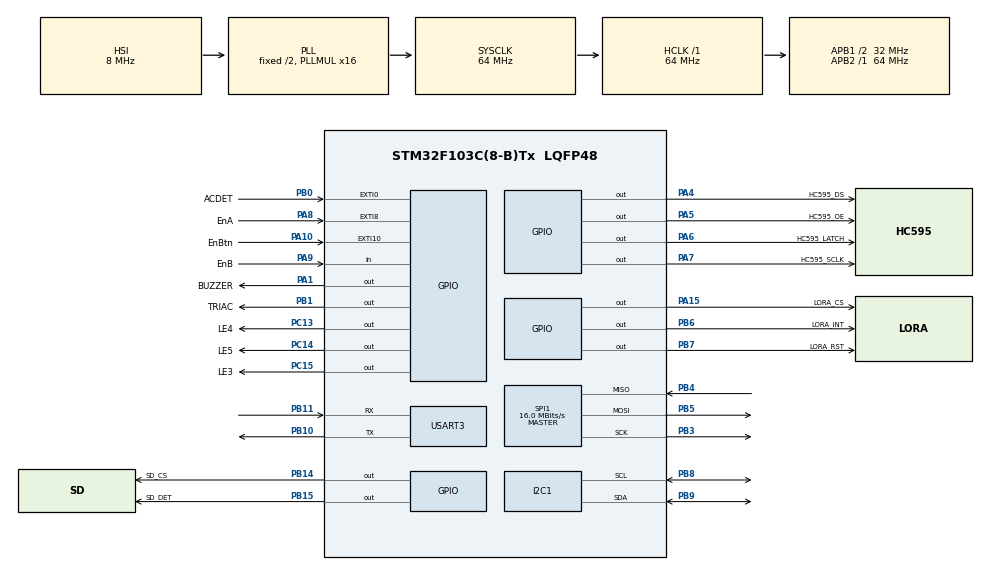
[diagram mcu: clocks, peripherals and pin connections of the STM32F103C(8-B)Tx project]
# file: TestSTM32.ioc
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Mcu.Family=STM32F1
Mcu.Name=STM32F103C(8-B)Tx
Mcu.Package=LQFP48
NVIC.EXTI0_IRQn=true\:0\:0\:false\:false\:true\:true\:true\:true
NVIC.EXTI15_10_IRQn=true\:0\:0\:true\:false\:true\:true\:true\:true
NVIC.EXTI9_5_IRQn=true\:0\:0\:true\:false\:true\:true\:true\:true
NVIC.I2C1_ER_IRQn=true\:0\:0\:false\:false\:true\:true\:true\:true
NVIC.I2C1_EV_IRQn=true\:0\:0\:false\:false\:true\:true\:true\:true
NVIC.PriorityGroup=NVIC_PRIORITYGROUP_4
NVIC.SPI1_IRQn=true\:0\:0\:false\:false\:true\:true\:true\:true
NVIC.TIM2_IRQn=true\:0\:0\:false\:false\:true\:true\:true\:true
NVIC.TIM3_IRQn=true\:1\:0\:true\:false\:true\:true\:true\:true
NVIC.USART3_IRQn=true\:0\:0\:false\:false\:true\:true\:true\:true
PA1.GPIO_Label=BUZZER
PA1.Signal=GPIO_Output
PA10.GPIO_Label=EnBtn
PA10.GPIO_ModeDefaultEXTI=GPIO_MODE_IT_FALLING
PA10.GPIO_PuPd=GPIO_PULLUP
PA10.Signal=GPXTI10
PA13.Mode=Serial_Wire
PA13.Signal=SYS_JTMS-SWDIO
PA14.Mode=Serial_Wire
PA14.Signal=SYS_JTCK-SWCLK
PA15.GPIO_Label=LORA_CS
PA15.GPIO_ModeDefaultOutputPP=GPIO_MODE_OUTPUT_PP
PA15.GPIO_PuPd=GPIO_PULLUP
PA15.Signal=GPIO_Output
PA4.GPIO_Label=HC595_DS
PA4.Signal=GPIO_Output
PA5.GPIO_Label=HC595_OE
PA5.Signal=GPIO_Output
PA6.GPIO_Label=HC595_LATCH
PA6.Signal=GPIO_Output
PA7.GPIO_Label=HC595_SCLK
PA7.Signal=GPIO_Output
PA8.GPIO_Label=EnA
PA8.Signal=GPXTI8
PA9.GPIO_Label=EnB
PA9.Signal=GPIO_Input
PB0.GPIO_Label=ACDET
PB0.GPIO_PuPd=GPIO_PULLUP
PB0.Signal=GPXTI0
PB1.GPIO_Label=TRIAC
PB1.Signal=GPIO_Output
PB10.Mode=Asynchronous
PB10.Signal=USART3_TX
PB11.Mode=Asynchronous
PB11.Signal=USART3_RX
PB14.GPIO_Label=SD_CS
PB14.GPIO_PuPd=GPIO_PULLUP
PB14.Signal=GPIO_Output
PB15.GPIO_Label=SD_DET
PB15.GPIO_PuPd=GPIO_PULLUP
PB15.Signal=GPIO_Output
PB3.Mode=Full_Duplex_Master
PB3.Signal=SPI1_SCK
PB4.Mode=Full_Duplex_Master
PB4.Signal=SPI1_MISO
PB5.Mode=Full_Duplex_Master
PB5.Signal=SPI1_MOSI
PB6.GPIO_Label=LORA_INT
PB6.GPIO_PuPd=GPIO_PULLUP
PB6.Signal=GPIO_Output
PB7.GPIO_Label=LORA_RST
PB7.GPIO_PuPd=GPIO_PULLUP
PB7.Signal=GPIO_Output
PB8.Mode=I2C
PB8.Signal=I2C1_SCL
PB9.Mode=I2C
PB9.Signal=I2C1_SDA
PC13-TAMPER-RTC.GPIO_Label=LE4
PC13-TAMPER-RTC.Signal=GPIO_Output
PC14-OSC32_IN.GPIO_Label=LE5
PC14-OSC32_IN.Signal=GPIO_Output
PC15-OSC32_OUT.GPIO_Label=LE3
PC15-OSC32_OUT.Signal=GPIO_Output
ProjectManager.HeapSize=0x200
ProjectManager.StackSize=0x400
ProjectManager.TargetToolchain=STM32CubeIDE
RCC.AHBFreq_Value=64000000
RCC.APB1CLKDivider=RCC_HCLK_DIV2
RCC.APB1Freq_Value=32000000
RCC.APB1TimFreq_Value=64000000
RCC.APB2Freq_Value=64000000
RCC.APB2TimFreq_Value=64000000
RCC.HCLKFreq_Value=64000000
RCC.HSE_VALUE=25000000
RCC.PLLMUL=RCC_PLL_MUL16
RCC.SYSCLKFreq_VALUE=64000000
RCC.SYSCLKSource=RCC_SYSCLKSOURCE_PLLCLK
RCC.USBFreq_Value=64000000
SPI1.BaudRatePrescaler=SPI_BAUDRATEPRESCALER_4
SPI1.CalculateBaudRate=16.0 MBits/s
SPI1.Direction=SPI_DIRECTION_2LINES
SPI1.FirstBit=SPI_FIRSTBIT_LSB
SPI1.Mode=SPI_MODE_MASTER
SPI1.VirtualType=VM_MASTER
TIM2.Period=10-1
TIM2.Prescaler=64-1
TIM3.Period=1000-1
TIM3.Prescaler=64-1
USART3.VirtualMode=VM_ASYNC
VP_TIM2_VS_ClockSourceINT.Mode=Internal
VP_TIM3_VS_ClockSourceINT.Mode=Internal
board=custom

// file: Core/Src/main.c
/* USER CODE BEGIN Header */
/**
 ******************************************************************************
 * @file           : main.c
 * @brief          : Main program body
 ******************************************************************************
 * @attention
 *
 * Copyright (c) 2023 STMicroelectronics.
 * All rights reserved.
 *
 * This software is licensed under terms that can be found in the LICENSE file
 * in the root directory of this software component.
 * If no LICENSE file comes with this software, it is provided AS-IS.
 *
 ******************************************************************************
 */
/* USER CODE END Header */
#include "main.h"

/* USER CODE BEGIN Includes */

#include "Buzzer.h"
#include <string.h>
#include <stdio.h>
#include "7seg.h"

/* USER CODE END Includes */

/* USER CODE BEGIN PTD */

typedef enum _Flag {
	USART3_INT,
	I2C1_INT,
} _Flag;

typedef enum _ecdProcState {
	ECD_WAIT1 = 1,
	ECD_WAIT3,
	ECD_State1,
	ECD_State2,
	ECD_State3,
} _ecdProcState;

typedef enum _btnProcState {
	BTN_WAIT1 = 1,
	BTN_WAIT3,
	BTN_State1,
	BTN_State2,
	BTN_State3,
} _btnProcState;

typedef enum _LedState {
	LED_Start,
	LED_Delay,
} _LedState;

typedef enum _BuzzerState{
	Buzzer_On,
	Buzzer_Off,
}_BuzzerState;

typedef enum _DelayProcess {
	LED_Count_Delay = 1,
	BTN_Count_Delay,
	ECD_Count_Delay,
	BUZZER_Count_Delay,
	LED_Count_Done,
	BTN_Count_Done,
	ECD_Count_Done,
	BUZZER_Count_Done
} _DelayProcess;

typedef struct _DS3231{
	uint8_t sec;
	uint8_t min;
	uint8_t hour;
	uint8_t day;
	uint8_t date;
	uint8_t month;
	uint8_t year;
}_DS3231;

_BuzzerState buzzerState;
_DS3231 ds3231;
_DelayProcess delayProcess;
_LedState ledstate;
_ecdProcState ecdState;
_btnProcState btnState;

/* USER CODE END PTD */

/* USER CODE BEGIN PD */

#define DS3231_ADDRESS (0x68<<1)

/* USER CODE END PD */

I2C_HandleTypeDef hi2c1;

SPI_HandleTypeDef hspi1;

TIM_HandleTypeDef htim2;
TIM_HandleTypeDef htim3;

UART_HandleTypeDef huart3;

/* USER CODE BEGIN PV */
uint32_t flag = 0;

uint32_t delay_counter[2][4] = { 0 };

uint8_t upperdigit = 0;
uint8_t lowerdigit = 0;
int8_t upperNumber[3] = { 0 };
int8_t lowerNumber[4] = { 0 };

uint16_t ecdcount = 0;
uint8_t ecdcheck = 0;

uint8_t push = 0;
uint8_t btncheck = 0;

/* USER CODE END PV */

void SystemClock_Config(void);
static void MX_GPIO_Init(void);
static void MX_TIM2_Init(void);
static void MX_TIM3_Init(void);
static void MX_USART3_UART_Init(void);
static void MX_I2C1_Init(void);
static void MX_SPI1_Init(void);

/* USER CODE BEGIN 0 */

void FlagSet(uint32_t *f, _Flag bitToSet){
	*f |= (1<<bitToSet);
}

void FlagClear(uint32_t *f, _Flag bitToClear){
	*f &= ~(1<<bitToClear);
}

uint8_t FlagCheck(uint32_t f, _Flag bitToCheck){
	if(f&(1<<bitToCheck))
		return 1;
	else
		return 0;
}

uint8_t B2D (uint8_t num){
	return ((num/10 * 16) + (num%10));
}

uint8_t D2B (uint8_t num){
	return ((num/16 * 10) + (num%16));
}

void HAL_GPIO_EXTI_Callback(uint16_t GPIO_Pin) {
	if (GPIO_Pin == EnA_Pin) {
		ecdState = ECD_WAIT1;
		HAL_NVIC_DisableIRQ(EXTI9_5_IRQn);
	}
	if (GPIO_Pin == EnBtn_Pin) {
		btnState = BTN_WAIT1;
		HAL_NVIC_DisableIRQ(EXTI15_10_IRQn);
	}
}

void Delay_Tim(uint32_t delay, _DelayProcess _delayProc) {
	switch (_delayProc) {
	case BUZZER_Count_Delay:
		delay_counter[1][3] = delay;
		if(delay_counter[0][3 < delay])
			delayProcess = BUZZER_Count_Delay;
		break;
	case LED_Count_Delay:
		delay_counter[1][2] = delay;
		if (delay_counter[0][2] < delay)
			delayProcess = LED_Count_Delay;
		break;
	case BTN_Count_Delay:
		delay_counter[1][1] = delay;
		if (delay_counter[0][1] < delay)
			delayProcess = BTN_Count_Delay;
		break;
	case ECD_Count_Delay:
		delay_counter[1][0] = delay;
		if (delay_counter[0][0] < delay)
			delayProcess = ECD_Count_Delay;
		break;
	case LED_Count_Done:
		ledstate = LED_Start;
		break;
	case BTN_Count_Done:
		switch (btnState)
		{
		case BTN_WAIT1:
			btnState = BTN_State1;
			break;
		default:
			btnState = BTN_State3;
			break;
		}
		break;
	case ECD_Count_Done:
		switch (ecdState)
		{
		case ECD_WAIT1:
			ecdState = ECD_State1;
			break;
		default:
			ecdState = ECD_State3;
			break;
		}
		break;
	case BUZZER_Count_Done:
		switch(buzzerState)
		{
		case Buzzer_On:
			buzzerState = Buzzer_Off;
			break;
		default:
			buzzerState = Buzzer_On;
			break;
		}
		break;
	}
}

void HAL_TIM_PeriodElapsedCallback(TIM_HandleTypeDef *htim) {
	if (htim->Instance == TIM2) {
		switch (delayProcess) {
		case BUZZER_Count_Delay:
			if (delay_counter[0][3] < delay_counter[1][3])
				delay_counter[0][3]++;
			else{
				delay_counter[0][3]=0;
				delayProcess = BUZZER_Count_Done;
			}
			delayProcess = 0;
			break;
		case LED_Count_Delay:
			if (delay_counter[0][2] < delay_counter[1][2])
				delay_counter[0][2]++;
			else{
				delay_counter[0][2]=0;
				delayProcess = LED_Count_Done;
			}
			delayProcess = 0;
			break;
		case BTN_Count_Delay:
			if (delay_counter[0][1] < delay_counter[1][1])
				delay_counter[0][1]++;
			else{
				delay_counter[0][1]=0;
				delayProcess = BTN_Count_Done;
			}
			delayProcess = 0;
			break;
		case ECD_Count_Delay:
			if (delay_counter[0][0] < delay_counter[1][0])
				delay_counter[0][0]++;
			else{
				delay_counter[0][0]=0;
				delayProcess = ECD_Count_Done;
			}
			delayProcess = 0;
			break;
		case LED_Count_Done:
			break;
		case BUZZER_Count_Done:
			break;
		case ECD_Count_Done:
			break;
		case BTN_Count_Done:
			break;
		}
	}
	if (htim->Instance == TIM3) {
		upperdigit++;
		lowerdigit++;
		if (upperdigit == 3)
			upperdigit = 0;
		if (lowerdigit == 4)
			lowerdigit = 0;
		switch (upperdigit) {
		case 0:
			SegLed_Show(LE3_BIT, upperNumber[0]);
			break;
		case 1:
			SegLed_Show(LE2_BIT, upperNumber[1]);
			break;
		case 2:
			SegLed_Show(LE1_BIT, upperNumber[2]);
			break;
		}
		switch (lowerdigit) {
			case 0:
				SegLed_Show(LE7_BIT,lowerNumber[0]);
				break;
			case 1:
				SegLed_Show(LE6_BIT,lowerNumber[1]);
				break;
			case 2:
				SegLed_Show(LE5_BIT,lowerNumber[2]);
				break;
			case 3:
				SegLed_Show(LE4_BIT,lowerNumber[3]);
		}
	}
}

void DS3232_GetTime(){
	uint8_t rtcdata[7] = {0};

	HAL_I2C_Master_Transmit(&hi2c1, DS3231_ADDRESS, 0x00, 1, HAL_MAX_DELAY);
	HAL_I2C_Master_Receive(&hi2c1, DS3231_ADDRESS, rtcdata, 7, HAL_MAX_DELAY);

	ds3231.sec   = B2D(rtcdata[0]);
	ds3231.min   = B2D(rtcdata[0]);
	ds3231.hour  = B2D(rtcdata[0]);
	ds3231.day   = B2D(rtcdata[0]);
	ds3231.date  = B2D(rtcdata[0]);
	ds3231.month = B2D(rtcdata[0]);
	ds3231.year  = B2D(rtcdata[0]);
}

void DS3231_SetTime(uint8_t sec, uint8_t min, uint8_t hour, uint8_t day, uint8_t date, uint8_t month, uint8_t year){
	uint8_t rtcdata[8] = {0};
	rtcdata[0] = 0x00;
	rtcdata[1] = D2B(sec);
	rtcdata[2] = D2B(min);
	rtcdata[3] = D2B(hour);
	rtcdata[4] = D2B(day);
	rtcdata[5] = D2B(date);
	rtcdata[6] = D2B(month);
	rtcdata[7] = D2B(year);
	HAL_I2C_Master_Transmit(&hi2c1, DS3231_ADDRESS, rtcdata, 8, HAL_MAX_DELAY);
}

void Read_Encoder() {
	switch (ecdState) {
	case ECD_WAIT1:
		Delay_Tim(2, ECD_Count_Delay);
		break;
	case ECD_WAIT3:
		Delay_Tim(2, ECD_Count_Delay);
		break;
	case ECD_State1:
		if (HAL_GPIO_ReadPin(EnB_GPIO_Port, EnB_Pin))
			ecdcount++;
		else
			ecdcount--;
		ecdState = ECD_State2;
		break;
	case ECD_State2:
		while (!HAL_GPIO_ReadPin(EnA_GPIO_Port, EnA_Pin));
		ecdState = ECD_State3;
		break;
	case ECD_State3:
		if (!HAL_GPIO_ReadPin(EnA_GPIO_Port, EnA_Pin))
			ecdcheck = 0;
		else
			ecdcheck++;
		if (ecdcheck == 3) {
			ecdState = 0;
			HAL_NVIC_EnableIRQ(EXTI9_5_IRQn);
		}else
			ecdState = ECD_WAIT3;
		break;
	}
}

void Read_Button() {
	switch (btnState) {
	case BTN_WAIT1:
		Delay_Tim(2, BTN_Count_Delay);
		break;
	case BTN_WAIT3:
		Delay_Tim(2,BTN_Count_Delay);
		break;
	case BTN_State1:
		push ^= 1;
		btnState = BTN_State2;
		break;
	case BTN_State2:
		while (!HAL_GPIO_ReadPin(EnBtn_GPIO_Port, EnBtn_Pin));
		btnState = BTN_State3;
		break;
	case BTN_State3:
		if (!HAL_GPIO_ReadPin(EnBtn_GPIO_Port, EnBtn_Pin))
			btncheck = 0;
		else
			btncheck++;
		if (btncheck >= 3){
			HAL_NVIC_EnableIRQ(EXTI15_10_IRQn);
			btnState = 0;
		}
		else
			btnState = BTN_WAIT3;
		break;
	}
}

void UpperLed() {
	switch (ledstate) {
	case LED_Start:
		if (!push) {
			upperNumber[0]++;
			for (uint8_t i = 0; i < sizeof(upperNumber) - 1; i++) {
				if (upperNumber[i] == 10) {
					upperNumber[i] = 0;
					upperNumber[i + 1]++;
				}
				if (upperNumber[3] == 10)
					memset(upperNumber, 0, sizeof(upperNumber));
			}
		} else {
			upperNumber[0]--;
			for (uint8_t j = 0; j < sizeof(upperNumber) - 1; j++) {
				if (upperNumber[j] == -1) {
					upperNumber[j] = 9;
					upperNumber[j + 1]--;
				}
				if (upperNumber[3] == -1)
					memset(upperNumber, 9, sizeof(upperNumber));
			}
		}
		ledstate = LED_Delay;
		break;
	case LED_Delay:
		Delay_Tim(10000, LED_Count_Delay);
		break;
	}
}

void LowerLed() {
	lowerNumber[0]++;
	for (uint8_t i = 0; i < sizeof(lowerNumber) - 1; i++) {
		if (lowerNumber[i] == 10) {
			lowerNumber[i] = 0;
			ecdcount = 0;
			lowerNumber[i + 1]++;
		}
		if (lowerNumber[3] == 10)
			memset(lowerNumber, 0, sizeof(lowerNumber));
	}

}

void Buzzer(){
	switch(buzzerState){
	case Buzzer_On:
		HAL_GPIO_WritePin(BUZZER_GPIO_Port, BUZZER_Pin, 1);
		Delay_Tim(10000, BUZZER_Count_Delay);
		break;
	case Buzzer_Off:
		HAL_GPIO_WritePin(BUZZER_GPIO_Port, BUZZER_Pin, 0);
		Delay_Tim(10000, BUZZER_Count_Delay);
		break;
	}
}

/* USER CODE END 0 */

int main(void)
{

  /* MCU Configuration--------------------------------------------------------*/

  /* Reset of all peripherals, Initializes the Flash interface and the Systick. */
  HAL_Init();

  /* Configure the system clock */
  SystemClock_Config();

  /* Initialize all configured peripherals */
  MX_GPIO_Init();
  MX_TIM2_Init();
  MX_TIM3_Init();
  MX_USART3_UART_Init();
  MX_I2C1_Init();
  MX_SPI1_Init();
  /* USER CODE BEGIN 2 */

  HAL_TIM_Base_Start_IT(&htim2);
  HAL_TIM_Base_Start_IT(&htim3);
//  DS3231_SetTime(0, 14, 20, 3, 25, 7, 23);

  /* USER CODE END 2 */

  /* Infinite loop */
  /* USER CODE BEGIN WHILE */
	while (1) {
		Read_Encoder();
		Read_Button();
		UpperLed();
	    LowerLed();
//		Buzzer();
    /* USER CODE END WHILE */

	}
}

void SystemClock_Config(void)
{
  RCC_OscInitTypeDef RCC_OscInitStruct = {0};
  RCC_ClkInitTypeDef RCC_ClkInitStruct = {0};

  /** Initializes the RCC Oscillators according to the specified parameters
  * in the RCC_OscInitTypeDef structure.
  */
  RCC_OscInitStruct.OscillatorType = RCC_OSCILLATORTYPE_HSI;
  RCC_OscInitStruct.HSIState = RCC_HSI_ON;
  RCC_OscInitStruct.HSICalibrationValue = RCC_HSICALIBRATION_DEFAULT;
  RCC_OscInitStruct.PLL.PLLState = RCC_PLL_ON;
  RCC_OscInitStruct.PLL.PLLSource = RCC_PLLSOURCE_HSI_DIV2;
  RCC_OscInitStruct.PLL.PLLMUL = RCC_PLL_MUL16;
  if (HAL_RCC_OscConfig(&RCC_OscInitStruct) != HAL_OK)
  {
    Error_Handler();
  }

  /** Initializes the CPU, AHB and APB buses clocks
  */
  RCC_ClkInitStruct.ClockType = RCC_CLOCKTYPE_HCLK|RCC_CLOCKTYPE_SYSCLK
                              |RCC_CLOCKTYPE_PCLK1|RCC_CLOCKTYPE_PCLK2;
  RCC_ClkInitStruct.SYSCLKSource = RCC_SYSCLKSOURCE_PLLCLK;
  RCC_ClkInitStruct.AHBCLKDivider = RCC_SYSCLK_DIV1;
  RCC_ClkInitStruct.APB1CLKDivider = RCC_HCLK_DIV2;
  RCC_ClkInitStruct.APB2CLKDivider = RCC_HCLK_DIV1;

  if (HAL_RCC_ClockConfig(&RCC_ClkInitStruct, FLASH_LATENCY_2) != HAL_OK)
  {
    Error_Handler();
  }
}

static void MX_I2C1_Init(void)
{

  hi2c1.Instance = I2C1;
  hi2c1.Init.ClockSpeed = 100000;
  hi2c1.Init.DutyCycle = I2C_DUTYCYCLE_2;
  hi2c1.Init.OwnAddress1 = 0;
  hi2c1.Init.AddressingMode = I2C_ADDRESSINGMODE_7BIT;
  hi2c1.Init.DualAddressMode = I2C_DUALADDRESS_DISABLE;
  hi2c1.Init.OwnAddress2 = 0;
  hi2c1.Init.GeneralCallMode = I2C_GENERALCALL_DISABLE;
  hi2c1.Init.NoStretchMode = I2C_NOSTRETCH_DISABLE;
  if (HAL_I2C_Init(&hi2c1) != HAL_OK)
  {
    Error_Handler();
  }

}

static void MX_SPI1_Init(void)
{

  /* SPI1 parameter configuration*/
  hspi1.Instance = SPI1;
  hspi1.Init.Mode = SPI_MODE_MASTER;
  hspi1.Init.Direction = SPI_DIRECTION_2LINES;
  hspi1.Init.DataSize = SPI_DATASIZE_8BIT;
  hspi1.Init.CLKPolarity = SPI_POLARITY_LOW;
  hspi1.Init.CLKPhase = SPI_PHASE_1EDGE;
  hspi1.Init.NSS = SPI_NSS_SOFT;
  hspi1.Init.BaudRatePrescaler = SPI_BAUDRATEPRESCALER_4;
  hspi1.Init.FirstBit = SPI_FIRSTBIT_LSB;
  hspi1.Init.TIMode = SPI_TIMODE_DISABLE;
  hspi1.Init.CRCCalculation = SPI_CRCCALCULATION_DISABLE;
  hspi1.Init.CRCPolynomial = 10;
  if (HAL_SPI_Init(&hspi1) != HAL_OK)
  {
    Error_Handler();
  }

}

static void MX_TIM2_Init(void)
{

  TIM_ClockConfigTypeDef sClockSourceConfig = {0};
  TIM_MasterConfigTypeDef sMasterConfig = {0};

  htim2.Instance = TIM2;
  htim2.Init.Prescaler = 64-1;
  htim2.Init.CounterMode = TIM_COUNTERMODE_UP;
  htim2.Init.Period = 100-1;
  htim2.Init.ClockDivision = TIM_CLOCKDIVISION_DIV1;
  htim2.Init.AutoReloadPreload = TIM_AUTORELOAD_PRELOAD_DISABLE;
  if (HAL_TIM_Base_Init(&htim2) != HAL_OK)
  {
    Error_Handler();
  }
  sClockSourceConfig.ClockSource = TIM_CLOCKSOURCE_INTERNAL;
  if (HAL_TIM_ConfigClockSource(&htim2, &sClockSourceConfig) != HAL_OK)
  {
    Error_Handler();
  }
  sMasterConfig.MasterOutputTrigger = TIM_TRGO_RESET;
  sMasterConfig.MasterSlaveMode = TIM_MASTERSLAVEMODE_DISABLE;
  if (HAL_TIMEx_MasterConfigSynchronization(&htim2, &sMasterConfig) != HAL_OK)
  {
    Error_Handler();
  }

}

static void MX_TIM3_Init(void)
{

  TIM_ClockConfigTypeDef sClockSourceConfig = {0};
  TIM_MasterConfigTypeDef sMasterConfig = {0};

  htim3.Instance = TIM3;
  htim3.Init.Prescaler = 64-1;
  htim3.Init.CounterMode = TIM_COUNTERMODE_UP;
  htim3.Init.Period = 1000-1;
  htim3.Init.ClockDivision = TIM_CLOCKDIVISION_DIV1;
  htim3.Init.AutoReloadPreload = TIM_AUTORELOAD_PRELOAD_DISABLE;
  if (HAL_TIM_Base_Init(&htim3) != HAL_OK)
  {
    Error_Handler();
  }
  sClockSourceConfig.ClockSource = TIM_CLOCKSOURCE_INTERNAL;
  if (HAL_TIM_ConfigClockSource(&htim3, &sClockSourceConfig) != HAL_OK)
  {
    Error_Handler();
  }
  sMasterConfig.MasterOutputTrigger = TIM_TRGO_RESET;
  sMasterConfig.MasterSlaveMode = TIM_MASTERSLAVEMODE_DISABLE;
  if (HAL_TIMEx_MasterConfigSynchronization(&htim3, &sMasterConfig) != HAL_OK)
  {
    Error_Handler();
  }

}

static void MX_USART3_UART_Init(void)
{

  huart3.Instance = USART3;
  huart3.Init.BaudRate = 115200;
  huart3.Init.WordLength = UART_WORDLENGTH_8B;
  huart3.Init.StopBits = UART_STOPBITS_1;
  huart3.Init.Parity = UART_PARITY_NONE;
  huart3.Init.Mode = UART_MODE_TX_RX;
  huart3.Init.HwFlowCtl = UART_HWCONTROL_NONE;
  huart3.Init.OverSampling = UART_OVERSAMPLING_16;
  if (HAL_UART_Init(&huart3) != HAL_OK)
  {
    Error_Handler();
  }

}

static void MX_GPIO_Init(void)
{
  GPIO_InitTypeDef GPIO_InitStruct = {0};

  /* GPIO Ports Clock Enable */
  __HAL_RCC_GPIOC_CLK_ENABLE();
  __HAL_RCC_GPIOA_CLK_ENABLE();
  __HAL_RCC_GPIOB_CLK_ENABLE();

  /*Configure GPIO pin Output Level */
  HAL_GPIO_WritePin(GPIOC, LE4_Pin|LE5_Pin|LE3_Pin, GPIO_PIN_RESET);

  /*Configure GPIO pin Output Level */
  HAL_GPIO_WritePin(GPIOA, BUZZER_Pin|HC595_DS_Pin|HC595_OE_Pin|HC595_LATCH_Pin
                          |HC595_SCLK_Pin|LORA_CS_Pin, GPIO_PIN_RESET);

  /*Configure GPIO pin Output Level */
  HAL_GPIO_WritePin(GPIOB, TRIAC_Pin|SD_CS_Pin|SD_DET_Pin|LORA_INT_Pin
                          |LORA_RST_Pin, GPIO_PIN_RESET);

  /*Configure GPIO pins : LE4_Pin LE5_Pin LE3_Pin */
  GPIO_InitStruct.Pin = LE4_Pin|LE5_Pin|LE3_Pin;
  GPIO_InitStruct.Mode = GPIO_MODE_OUTPUT_PP;
  GPIO_InitStruct.Pull = GPIO_NOPULL;
  GPIO_InitStruct.Speed = GPIO_SPEED_FREQ_LOW;
  HAL_GPIO_Init(GPIOC, &GPIO_InitStruct);

  /*Configure GPIO pins : BUZZER_Pin HC595_DS_Pin HC595_OE_Pin HC595_LATCH_Pin
                           HC595_SCLK_Pin */
  GPIO_InitStruct.Pin = BUZZER_Pin|HC595_DS_Pin|HC595_OE_Pin|HC595_LATCH_Pin
                          |HC595_SCLK_Pin;
  GPIO_InitStruct.Mode = GPIO_MODE_OUTPUT_PP;
  GPIO_InitStruct.Pull = GPIO_NOPULL;
  GPIO_InitStruct.Speed = GPIO_SPEED_FREQ_LOW;
  HAL_GPIO_Init(GPIOA, &GPIO_InitStruct);

  /*Configure GPIO pin : ACDET_Pin */
  GPIO_InitStruct.Pin = ACDET_Pin;
  GPIO_InitStruct.Mode = GPIO_MODE_IT_RISING;
  GPIO_InitStruct.Pull = GPIO_PULLUP;
  HAL_GPIO_Init(ACDET_GPIO_Port, &GPIO_InitStruct);

  /*Configure GPIO pin : TRIAC_Pin */
  GPIO_InitStruct.Pin = TRIAC_Pin;
  GPIO_InitStruct.Mode = GPIO_MODE_OUTPUT_PP;
  GPIO_InitStruct.Pull = GPIO_NOPULL;
  GPIO_InitStruct.Speed = GPIO_SPEED_FREQ_LOW;
  HAL_GPIO_Init(TRIAC_GPIO_Port, &GPIO_InitStruct);

  /*Configure GPIO pins : SD_CS_Pin SD_DET_Pin LORA_INT_Pin LORA_RST_Pin */
  GPIO_InitStruct.Pin = SD_CS_Pin|SD_DET_Pin|LORA_INT_Pin|LORA_RST_Pin;
  GPIO_InitStruct.Mode = GPIO_MODE_OUTPUT_PP;
  GPIO_InitStruct.Pull = GPIO_PULLUP;
  GPIO_InitStruct.Speed = GPIO_SPEED_FREQ_LOW;
  HAL_GPIO_Init(GPIOB, &GPIO_InitStruct);

  /*Configure GPIO pin : EnA_Pin */
  GPIO_InitStruct.Pin = EnA_Pin;
  GPIO_InitStruct.Mode = GPIO_MODE_IT_RISING;
  GPIO_InitStruct.Pull = GPIO_NOPULL;
  HAL_GPIO_Init(EnA_GPIO_Port, &GPIO_InitStruct);

  /*Configure GPIO pin : EnB_Pin */
  GPIO_InitStruct.Pin = EnB_Pin;
  GPIO_InitStruct.Mode = GPIO_MODE_INPUT;
  GPIO_InitStruct.Pull = GPIO_NOPULL;
  HAL_GPIO_Init(EnB_GPIO_Port, &GPIO_InitStruct);

  /*Configure GPIO pin : EnBtn_Pin */
  GPIO_InitStruct.Pin = EnBtn_Pin;
  GPIO_InitStruct.Mode = GPIO_MODE_IT_FALLING;
  GPIO_InitStruct.Pull = GPIO_PULLUP;
  HAL_GPIO_Init(EnBtn_GPIO_Port, &GPIO_InitStruct);

  /*Configure GPIO pin : LORA_CS_Pin */
  GPIO_InitStruct.Pin = LORA_CS_Pin;
  GPIO_InitStruct.Mode = GPIO_MODE_OUTPUT_PP;
  GPIO_InitStruct.Pull = GPIO_PULLUP;
  GPIO_InitStruct.Speed = GPIO_SPEED_FREQ_LOW;
  HAL_GPIO_Init(LORA_CS_GPIO_Port, &GPIO_InitStruct);

  /* EXTI interrupt init*/
  HAL_NVIC_SetPriority(EXTI0_IRQn, 0, 0);
  HAL_NVIC_EnableIRQ(EXTI0_IRQn);

  HAL_NVIC_SetPriority(EXTI9_5_IRQn, 0, 0);
  HAL_NVIC_EnableIRQ(EXTI9_5_IRQn);

  HAL_NVIC_SetPriority(EXTI15_10_IRQn, 0, 0);
  HAL_NVIC_EnableIRQ(EXTI15_10_IRQn);

}

void Error_Handler(void)
{
	__disable_irq();
	while (1) {
	}
}
